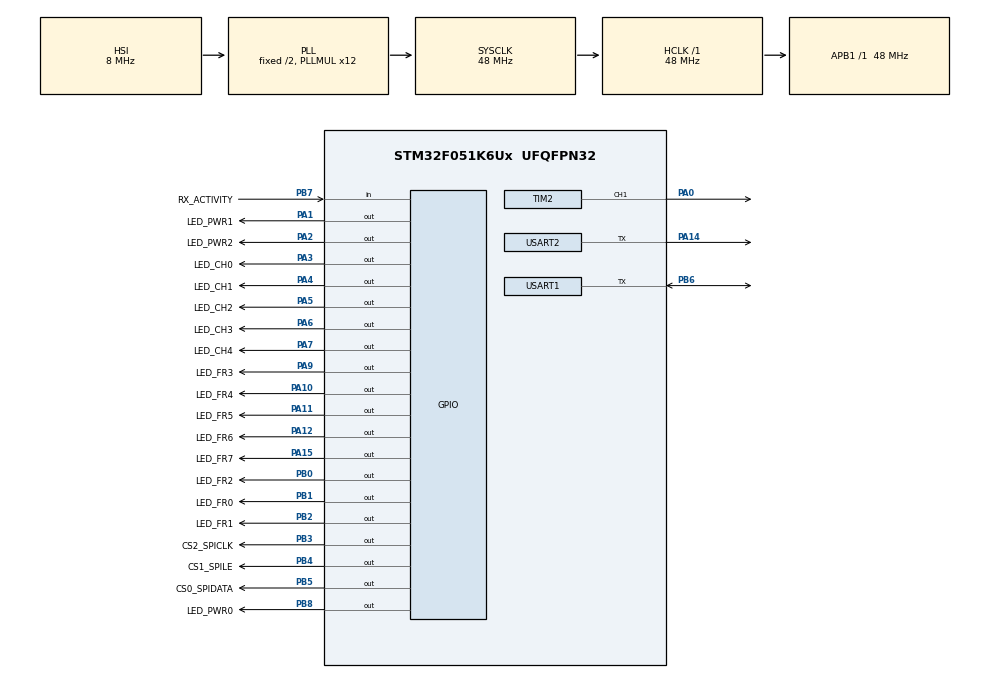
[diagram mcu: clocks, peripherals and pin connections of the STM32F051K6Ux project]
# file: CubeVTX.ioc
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Mcu.Family=STM32F0
Mcu.Name=STM32F051K6Ux
Mcu.Package=UFQFPN32
NVIC.USART1_IRQn=true\:0\:0\:false\:false\:true\:true\:true\:true
PA0.Signal=S_TIM2_CH1_ETR
PA1.GPIO_Label=LED_PWR1
PA1.PinState=GPIO_PIN_SET
PA1.Signal=GPIO_Output
PA10.GPIO_Label=LED_FR4
PA10.PinState=GPIO_PIN_SET
PA10.Signal=GPIO_Output
PA11.GPIO_Label=LED_FR5
PA11.PinState=GPIO_PIN_SET
PA11.Signal=GPIO_Output
PA12.GPIO_Label=LED_FR6
PA12.PinState=GPIO_PIN_SET
PA12.Signal=GPIO_Output
PA14.GPIO_ModeDefaultOD=GPIO_MODE_AF_PP
PA14.GPIO_PuPdOD=GPIO_NOPULL
PA14.Mode=Half_duplex(single_wire_mode)
PA14.Signal=USART2_TX
PA15.GPIO_Label=LED_FR7
PA15.PinState=GPIO_PIN_SET
PA15.Signal=GPIO_Output
PA2.GPIO_Label=LED_PWR2
PA2.PinState=GPIO_PIN_SET
PA2.Signal=GPIO_Output
PA3.GPIO_Label=LED_CH0
PA3.PinState=GPIO_PIN_SET
PA3.Signal=GPIO_Output
PA4.GPIO_Label=LED_CH1
PA4.PinState=GPIO_PIN_SET
PA4.Signal=GPIO_Output
PA5.GPIO_Label=LED_CH2
PA5.PinState=GPIO_PIN_SET
PA5.Signal=GPIO_Output
PA6.GPIO_Label=LED_CH3
PA6.PinState=GPIO_PIN_SET
PA6.Signal=GPIO_Output
PA7.GPIO_Label=LED_CH4
PA7.PinState=GPIO_PIN_SET
PA7.Signal=GPIO_Output
PA9.GPIO_Label=LED_FR3
PA9.PinState=GPIO_PIN_SET
PA9.Signal=GPIO_Output
PB0.GPIO_Label=LED_FR2
PB0.GPIO_ModeDefaultOutputPP=GPIO_MODE_OUTPUT_PP
PB0.GPIO_PuPd=GPIO_NOPULL
PB0.PinState=GPIO_PIN_SET
PB0.Signal=GPIO_Output
PB1.GPIO_Label=LED_FR0
PB1.PinState=GPIO_PIN_SET
PB1.Signal=GPIO_Output
PB2.GPIO_Label=LED_FR1
PB2.PinState=GPIO_PIN_SET
PB2.Signal=GPIO_Output
PB3.GPIO_Label=CS2_SPICLK
PB3.Signal=GPIO_Output
PB4.GPIO_Label=CS1_SPILE
PB4.PinState=GPIO_PIN_SET
PB4.Signal=GPIO_Output
PB5.GPIO_Label=CS0_SPIDATA
PB5.Signal=GPIO_Output
PB6.GPIO_ModeDefaultOD=GPIO_MODE_AF_PP
PB6.GPIO_ModeDefaultPP=GPIO_MODE_AF_OD
PB6.GPIO_PuPd=GPIO_PULLUP
PB6.GPIO_PuPdOD=GPIO_PULLUP
PB6.GPIO_Speed=GPIO_SPEED_FREQ_HIGH
PB6.Mode=Half_duplex(single_wire_mode)
PB6.Signal=USART1_TX
PB7.GPIO_Label=RX_ACTIVITY
PB7.Signal=GPIO_Input
PB8.GPIO_Label=LED_PWR0
PB8.PinState=GPIO_PIN_SET
PB8.Signal=GPIO_Output
ProjectManager.HeapSize=0x200
ProjectManager.StackSize=0x400
ProjectManager.TargetToolchain=STM32CubeIDE
RCC.AHBFreq_Value=48000000
RCC.APB1Freq_Value=48000000
RCC.APB1TimFreq_Value=48000000
RCC.HCLKFreq_Value=48000000
RCC.PLLMUL=RCC_PLL_MUL12
RCC.SYSCLKFreq_VALUE=48000000
RCC.SYSCLKSource=RCC_SYSCLKSOURCE_PLLCLK
SH.S_TIM2_CH1_ETR.0=TIM2_CH1,PWM Generation1 CH1
TIM2.AutoReloadPreload=TIM_AUTORELOAD_PRELOAD_ENABLE
TIM2.Channel-PWM\ Generation1\ CH1=TIM_CHANNEL_1
TIM2.Period=0x3ff
USART1.BaudRate=9600
USART1.DMADisableonRxErrorParam=ADVFEATURE_DMA_ENABLEONRXERROR
USART1.OverrunDisableParam=ADVFEATURE_OVERRUN_ENABLE
USART1.RxPinLevelInvertParam=ADVFEATURE_RXINV_DISABLE
USART1.StopBits=STOPBITS_1
USART1.SwapParam=ADVFEATURE_SWAP_DISABLE
USART1.VirtualMode-Half_duplex(single_wire_mode)=VM_ASYNC
USART2.BaudRate=9600
USART2.Mode=MODE_TX
USART2.StopBits=STOPBITS_1
USART2.SwapParam=ADVFEATURE_SWAP_DISABLE
USART2.VirtualMode-Half_duplex(single_wire_mode)=VM_ASYNC
VP_TIM2_VS_ClockSourceINT.Mode=Internal
board=custom

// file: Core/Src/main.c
/* USER CODE BEGIN Header */
/**
  ******************************************************************************
  * @file           : main.c
  * @brief          : Main program body
  ******************************************************************************
  * @attention
  *
  * Copyright (c) 2024 STMicroelectronics.
  * All rights reserved.
  *
  * This software is licensed under terms that can be found in the LICENSE file
  * in the root directory of this software component.
  * If no LICENSE file comes with this software, it is provided AS-IS.
  *
  ******************************************************************************
  */
/* USER CODE END Header */
#include "main.h"
#include "tim.h"
#include "usart.h"
#include "gpio.h"

/* USER CODE BEGIN Includes */
#include "helpers.h"
#include "openVTxEEPROM.h"
#include "common.h"
#include "rtc6705.h"
#include "smartAudio.h"
#include "tramp.h"
#include "mspVtx.h"
#include "button.h"
#include "targets.h"
#include "errorCodes.h"
#include "vtx_gpio.h"
/* USER CODE END Includes */

void SystemClock_Config(void);

/* USER CODE BEGIN 0 */

void start_serial(uint8_t type)
{
  uint32_t baud, stopbits;
  switch (type) {
    case TRAMP:
      baud = TRAMP_BAUD;
      stopbits = LL_USART_STOPBITS_1;
      trampReset();
      break;
    case SMARTAUDIO:
      baud = SMARTAUDIO_BAUD;
      stopbits = LL_USART_STOPBITS_2;
      smartaudioReset();
      break;
    case MSP:
      baud = MSP_BAUD;
      stopbits = LL_USART_STOPBITS_1;
      mspReset();
      break;
    default:
      baud = 115200;
      stopbits = LL_USART_STOPBITS_1;
      break;
  }
  //serial_begin(baud, UART_TX, UART_RX, stopbits);
  customSerialSet(baud, stopbits);
  myEEPROM.vtxMode = type;
}

void checkRTC6705isAlive()
{
  if (!rtc6705CheckFrequency())
  {
    rtc6705WriteFrequency(myEEPROM.currFreq); // Tries and set the correct freq to the RTC6705

    if (currentErrorMode == NO_ERROR)
    {
      currentErrorMode = RTC6705_NOT_DETECTED;
    }
  } else {
    if (currentErrorMode == RTC6705_NOT_DETECTED)
      {
        currentErrorMode = NO_ERROR;
      }
  }
}

/* USER CODE END 0 */

int main(void)
{

  /* MCU Configuration--------------------------------------------------------*/

  /* Reset of all peripherals, Initializes the Flash interface and the Systick. */
  HAL_Init();

  /* Configure the system clock */
  SystemClock_Config();

  /* Initialize all configured peripherals */
  MX_GPIO_Init();
  MX_USART1_UART_Init();
  MX_USART2_UART_Init();
  MX_TIM2_Init();
  /* USER CODE BEGIN 2 */

  // target_rfPowerAmpPinSetup();
  // rtc6705spiPinSetup();

  readEEPROM();

  pitMode = myEEPROM.pitmodeInRange;

  rtc6705ResetState(); // During testing registers got messed up. So now it gets reset on boot!
  rtc6705WriteFrequency(myEEPROM.currFreq);

  start_serial(myEEPROM.vtxMode);

  status_leds_init();
  //button_init(); -- replaced by MX_GPIO_Init()

  resetModeIndication();

  HAL_TIM_PWM_Start(&htim2, TIM_CHANNEL_1);
  TIM2->CCR1 = 0xF;

  /* USER CODE END 2 */

  /* Infinite loop */
  /* USER CODE BEGIN WHILE */
  while (1)
  {
    uint32_t now = millis();

    // ToDo -- protocol detect

    /* Process uart data */
    switch (myEEPROM.vtxMode) {
      case TRAMP:
        trampProcessSerial();
        break;
      case SMARTAUDIO:
        smartaudioProcessSerial();
        break;
      case MSP:
        mspUpdate(now);
        break;
      default:
        break;
    }

    checkButton();

    rtc6705PowerUpAfterPLLSettleTime();

    checkPowerOutput();

    checkRTC6705isAlive();

    errorCheck();

    writeEEPROM();

    //target_loop(); todo

    if (LED_INDICATION_OF_VTX_MODE && !(vtxModeLocked && myEEPROM.vtxMode == TRAMP)) // TRAMP doesnt use VTx Tables so LED indication of band/channel doesnt really work.
      modeIndicationLoop();
    else
      status_led2(vtxModeLocked);

    //LL_GPIO_TogglePin(LED_PWR0_GPIO_Port, LED_PWR0_Pin);
    //HAL_Delay(100);
    //LL_GPIO_TogglePin(LED_CH0_GPIO_Port, LED_CH0_Pin);
    //HAL_Delay(100);
    //LL_GPIO_TogglePin(LED_FR2_GPIO_Port, LED_FR2_Pin);
    if (getButtonState())
      LL_GPIO_SetOutputPin(LED_PWR1_GPIO_Port, LED_PWR1_Pin);
    else
      LL_GPIO_ResetOutputPin(LED_PWR1_GPIO_Port, LED_PWR1_Pin);
    //HAL_Delay(500);
    /* USER CODE END WHILE */

  }
}

void SystemClock_Config(void)
{
  RCC_OscInitTypeDef RCC_OscInitStruct = {0};
  RCC_ClkInitTypeDef RCC_ClkInitStruct = {0};
  RCC_PeriphCLKInitTypeDef PeriphClkInit = {0};

  /** Initializes the RCC Oscillators according to the specified parameters
  * in the RCC_OscInitTypeDef structure.
  */
  RCC_OscInitStruct.OscillatorType = RCC_OSCILLATORTYPE_HSI;
  RCC_OscInitStruct.HSIState = RCC_HSI_ON;
  RCC_OscInitStruct.HSICalibrationValue = RCC_HSICALIBRATION_DEFAULT;
  RCC_OscInitStruct.PLL.PLLState = RCC_PLL_ON;
  RCC_OscInitStruct.PLL.PLLSource = RCC_PLLSOURCE_HSI;
  RCC_OscInitStruct.PLL.PLLMUL = RCC_PLL_MUL12;
  RCC_OscInitStruct.PLL.PREDIV = RCC_PREDIV_DIV1;
  if (HAL_RCC_OscConfig(&RCC_OscInitStruct) != HAL_OK)
  {
    Error_Handler();
  }

  /** Initializes the CPU, AHB and APB buses clocks
  */
  RCC_ClkInitStruct.ClockType = RCC_CLOCKTYPE_HCLK|RCC_CLOCKTYPE_SYSCLK
                              |RCC_CLOCKTYPE_PCLK1;
  RCC_ClkInitStruct.SYSCLKSource = RCC_SYSCLKSOURCE_PLLCLK;
  RCC_ClkInitStruct.AHBCLKDivider = RCC_SYSCLK_DIV1;
  RCC_ClkInitStruct.APB1CLKDivider = RCC_HCLK_DIV1;

  if (HAL_RCC_ClockConfig(&RCC_ClkInitStruct, FLASH_LATENCY_1) != HAL_OK)
  {
    Error_Handler();
  }
  PeriphClkInit.PeriphClockSelection = RCC_PERIPHCLK_USART1;
  PeriphClkInit.Usart1ClockSelection = RCC_USART1CLKSOURCE_PCLK1;
  if (HAL_RCCEx_PeriphCLKConfig(&PeriphClkInit) != HAL_OK)
  {
    Error_Handler();
  }
}

void Error_Handler(void)
{
  __disable_irq();
  while (1)
  {
  }
}
